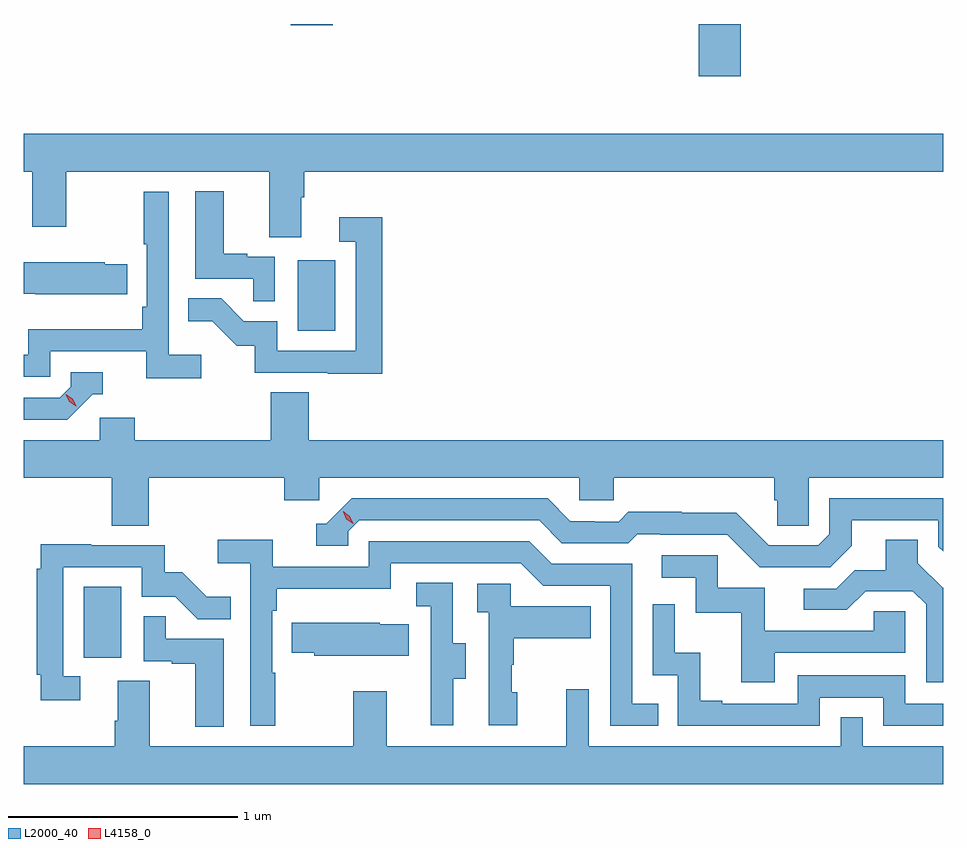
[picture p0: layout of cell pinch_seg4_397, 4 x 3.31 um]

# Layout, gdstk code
import gdstk
lib = gdstk.Library(unit=1e-6, precision=1e-09)
def R(c, l, rs):  # rectangles x0, y0, x1, y1
    for r in rs: c.add(gdstk.rectangle(r[:2], r[2:], *l))
def P(c, l, *ps):  # polygons
    for p in ps: c.add(gdstk.Polygon(p, *l))
L2000_40 = (2000, 40)
L4158_0 = (4158, 0)

pinch_seg4_397 = lib.new_cell('pinch_seg4_397')
R(pinch_seg4_397, L2000_40, [(968.738,780.054,968.902,780.361), (969.668,781.476,969.832,781.783), (971.414,782.583,971.597,782.81), (969.638,782.805,969.821,782.81)])
P(pinch_seg4_397, L2000_40, [(969.685,782.056),(969.698,782.056),(969.698,782.168),(972.477,782.168),(972.477,782.332),(968.477,782.332),(968.477,782.168),(968.513,782.168),(968.513,781.929),(968.661,781.929),(968.661,782.168),(969.545,782.168),(969.545,781.882),(969.685,781.882)],
  [(969.57,781.797),(969.449,781.797),(969.449,781.81),(969.346,781.81),(969.346,782.083),(969.224,782.083),(969.224,781.701),(969.475,781.701),(969.475,781.603),(969.57,781.603)],
  [(969.25,781.372),(969.108,781.372),(969.108,782.08),(969,782.08),(969,781.852),(969.012,781.852),(969.012,781.579),(968.992,781.579),(968.992,781.483),(968.496,781.483),(968.496,781.371),(968.477,781.371),(968.477,781.275),(968.592,781.275),(968.592,781.386),(969.011,781.386),(969.011,781.27),(969.25,781.27)],
  [(970.037,781.969),(969.849,781.969),(969.849,781.863),(969.921,781.863),(969.921,781.389),(969.579,781.389),(969.579,781.518),(969.434,781.518),(969.336,781.616),(969.193,781.616),(969.193,781.517),(969.297,781.517),(969.404,781.41),(969.481,781.41),(969.481,781.293),(969.799,781.293),(969.799,781.288),(970.037,781.288)],
  [(968.927,781.764),(968.829,781.764),(968.829,781.774),(968.477,781.774),(968.477,781.637),(968.527,781.637),(968.527,781.634),(968.927,781.634)],
  [(968.778,781.2),(968.821,781.2),(968.821,781.296),(968.682,781.296),(968.682,781.233),(968.634,781.185),(968.477,781.185),(968.477,781.089),(968.667,781.089)],
  [(969.02,780.836),(969.611,780.836),(969.611,780.738),(969.762,780.738),(969.762,780.836),(970.893,780.836),(970.893,780.738),(971.043,780.738),(971.043,780.836),(971.741,780.836),(971.741,780.738),(971.755,780.738),(971.755,780.628),(971.892,780.628),(971.892,780.836),(972.477,780.836),(972.477,781),(969.716,781),(969.716,781.208),(969.551,781.208),(969.551,781),(968.96,781),(968.96,781.098),(968.808,781.098),(968.808,781),(968.477,781),(968.477,780.836),(968.86,780.836),(968.86,780.628),(969.02,780.628)],
  [(972.079,780.541),(972.079,780.651),(972.456,780.651),(972.456,780.537),(972.477,780.516),(972.477,780.747),(971.982,780.747),(971.982,780.591),(971.934,780.543),(971.718,780.543),(971.576,780.685),(971.34,780.685),(971.34,780.688),(971.107,780.688),(971.065,780.645),(970.962,780.645),(970.962,780.648),(970.855,780.648),(970.756,780.747),(969.903,780.747),(969.792,780.636),(969.749,780.636),(969.749,780.54),(969.888,780.54),(969.888,780.603),(969.936,780.651),(970.719,780.651),(970.818,780.552),(971.107,780.552),(971.146,780.591),(971.245,780.591),(971.245,780.588),(971.538,780.588),(971.679,780.447),(971.985,780.447)],
  [(972.477,780.357),(972.474,780.357),(972.367,780.464),(972.367,780.566),(972.227,780.566),(972.227,780.434),(972.092,780.434),(972.012,780.354),(971.871,780.354),(971.871,780.261),(972.058,780.261),(972.139,780.342),(972.345,780.342),(972.402,780.285),(972.402,779.946),(972.477,779.946)],
  [(969.571,779.987),(969.558,779.987),(969.558,780.257),(969.578,780.257),(969.578,780.353),(970.074,780.353),(970.074,780.465),(970.638,780.465),(970.737,780.366),(971.028,780.366),(971.028,779.757),(971.237,779.757),(971.237,779.853),(971.124,779.853),(971.124,780.462),(970.774,780.462),(970.675,780.561),(969.978,780.561),(969.978,780.45),(969.56,780.45),(969.56,780.566),(969.321,780.566),(969.321,780.464),(969.462,780.464),(969.462,779.757),(969.571,779.757)],
  [(968.722,779.973),(968.649,779.973),(968.649,780.447),(968.991,780.447),(968.991,780.318),(969.136,780.318),(969.234,780.22),(969.377,780.22),(969.377,780.319),(969.273,780.319),(969.166,780.426),(969.09,780.426),(969.09,780.543),(968.771,780.543),(968.771,780.548),(968.552,780.548),(968.552,780.44),(968.533,780.44),(968.533,779.98),(968.552,779.98),(968.552,779.868),(968.722,779.868)],
  [(971.743,780.075),(972.312,780.075),(972.312,780.255),(972.175,780.255),(972.175,780.171),(971.701,780.171),(971.701,780.357),(971.496,780.357),(971.496,780.498),(971.253,780.498),(971.253,780.402),(971.4,780.402),(971.4,780.249),(971.599,780.249),(971.599,779.946),(971.743,779.946)],
  [(970.345,779.962),(970.399,779.962),(970.399,780.117),(970.344,780.117),(970.344,780.38),(970.185,780.38),(970.185,780.277),(970.248,780.277),(970.248,779.973),(970.247,779.973),(970.247,779.76),(970.345,779.76)],
  [(970.624,779.904),(970.599,779.904),(970.599,780.023),(970.609,780.023),(970.609,780.137),(970.943,780.137),(970.943,780.277),(970.596,780.277),(970.596,780.375),(970.449,780.375),(970.449,780.251),(970.5,780.251),(970.5,779.76),(970.624,779.76)],
  [(971.94,779.88),(972.216,779.88),(972.216,779.757),(972.477,779.757),(972.477,779.853),(972.312,779.853),(972.312,779.976),(971.844,779.976),(971.844,779.853),(971.515,779.853),(971.515,779.866),(971.42,779.866),(971.42,780.074),(971.31,780.074),(971.31,780.286),(971.214,780.286),(971.214,779.976),(971.322,779.976),(971.322,779.757),(971.94,779.757)],
  [(969.346,780.135),(969.095,780.135),(969.095,780.233),(969,780.233),(969,780.039),(969.121,780.039),(969.121,780.027),(969.224,780.027),(969.224,779.753),(969.346,779.753)],
  [(970.151,780.199),(970.026,780.199),(970.026,780.205),(969.643,780.205),(969.643,780.076),(969.741,780.076),(969.741,780.062),(970.151,780.062)],
  [(972.477,779.668),(972.126,779.668),(972.126,779.795),(972.03,779.795),(972.03,779.668),(970.935,779.668),(970.935,779.917),(970.838,779.917),(970.838,779.668),(970.057,779.668),(970.057,779.908),(969.91,779.908),(969.91,779.668),(969.025,779.668),(969.025,779.954),(968.885,779.954),(968.885,779.78),(968.873,779.78),(968.873,779.668),(968.477,779.668),(968.477,779.504),(972.477,779.504)])
P(pinch_seg4_397, L4158_0, [(969.911,780.636),(969.881,780.656),(969.866,780.689),(969.866,780.69),(969.866,780.69),(969.896,780.669),(969.911,780.636),(969.911,780.636)],
  [(968.705,781.147),(968.674,781.167),(968.659,781.2),(968.659,781.2),(968.659,781.2),(968.69,781.18),(968.705,781.147),(968.705,781.147)])

lib.write_gds('pinch_seg4_397.gds')
